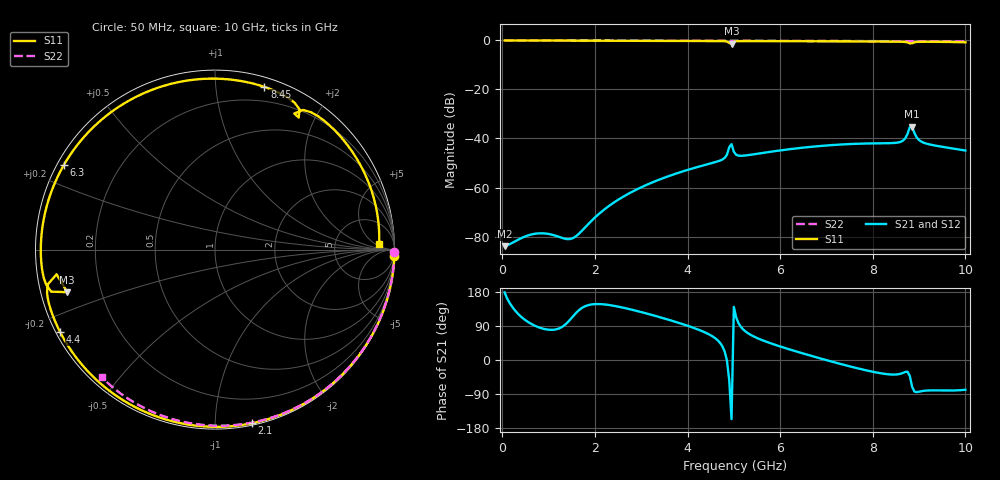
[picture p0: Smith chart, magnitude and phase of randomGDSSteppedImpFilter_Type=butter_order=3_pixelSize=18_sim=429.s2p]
! freq	dB(S11)	phase(S11)	dB(S12)	phase(S12)
!  dB(S21)	phase(S21)	dB(S22)	phase(S22)
!S-par simulation data
#  GHz  S  DB  R 50
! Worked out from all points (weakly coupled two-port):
!   200 points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, 50 MHz to 10 GHz, reference 50 ohm
!   highest |S21| = -35.23 dB at 8.85 GHz (marker M1); lowest = -83.9 dB at 50 MHz (marker M2)
!   lowest |S11| = -1.3 dB at 4.95 GHz (marker M3), VSWR 12.99, Z = 3.93 - j7.01 ohm
!   |S11| at or under -10 dB: nowhere
!   |S22| runs from -0.4 to 0.0 dB; largest |S21 - S12| = 0
!   S11 on the Smith chart (normalised r, x): 50 MHz: 0, -59; 2.1 GHz: 0.01, -1.23; 4.4 GHz: 0.01, -0.25; 6.3 GHz: 0.02, +0.26; 8.45 GHz: 0.08, +1.35; 10 GHz: 20, +8
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0.05  -0.00 -2.0  -83.94 178.3  -83.94 178.3  -0.00 -0.8
0.75  -0.03 -29.0  -78.78 88.0  -78.78 88.0  -0.01 -11.4
1.55  -0.07 -58.7  -80.41 118.6  -80.41 118.6  -0.03 -23.3
1.75  -0.08 -65.8  -77.04 139.5  -77.04 139.5  -0.03 -26.3
2.1  -0.10 -78.1  -70.56 147.6  -70.56 147.6  -0.04 -31.4
2.65  -0.12 -96.7  -63.33 137.0  -63.33 137.0  -0.05 -39.4
3.4  -0.15 -120.9  -56.71 113.0  -56.71 113.0  -0.07 -50.1
4.4  -0.20 -151.9  -50.68 71.5  -50.68 71.5  -0.09 -63.8
4.8  -0.30 -165.6  -47.96 23.1  -47.96 23.1  -0.10 -69.2
4.9  -0.98 -171.2  -43.58 -52.2  -43.58 -52.2  -0.11 -70.5
4.95  -1.34 -163.9  -42.31 -156.1  -42.31 -156.1  -0.12 -71.1
5.05  -0.35 -168.3  -46.63 112.5  -46.63 112.5  -0.11 -72.4
6.3  -0.31 150.7  -44.15 24.3  -44.15 24.3  -0.16 -88.4
6.7  -0.34 137.6  -43.34 9.9  -43.34 9.9  -0.18 -93.3
7.6  -0.39 106.2  -42.20 -19.8  -42.20 -19.8  -0.23 -104.1
8.35  -0.45 77.3  -41.92 -37.9  -41.92 -37.9  -0.29 -112.9
8.45  -0.47 73.1  -41.84 -38.5  -41.84 -38.5  -0.30 -114.1
8.65  -0.55 64.1  -40.91 -34.2  -40.91 -34.2  -0.31 -116.4
8.85  -1.14 59.8  -35.23 -70.7  -35.23 -70.7  -0.33 -118.6
8.95  -0.59 55.0  -39.59 -84.7  -39.59 -84.7  -0.34 -119.8
9.1  -0.52 47.3  -41.74 -81.3  -41.74 -81.3  -0.35 -121.5
10  -0.76 1.9  -44.90 -78.5  -44.90 -78.5  -0.44 -131.7
